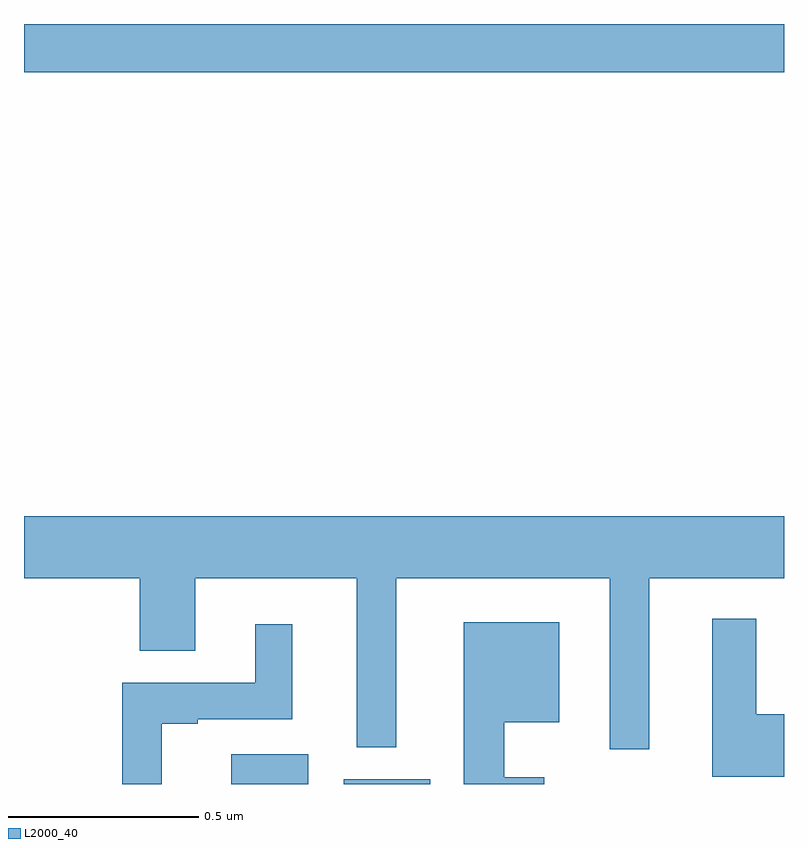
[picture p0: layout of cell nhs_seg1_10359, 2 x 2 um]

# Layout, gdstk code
import gdstk
lib = gdstk.Library(unit=1e-6, precision=1e-09)
def R(c, l, rs):  # rectangles x0, y0, x1, y1
    for r in rs: c.add(gdstk.rectangle(r[:2], r[2:], *l))
def P(c, l, *ps):  # polygons
    for p in ps: c.add(gdstk.Polygon(p, *l))
L2000_40 = (2000, 40)

nhs_seg1_10359 = lib.new_cell('nhs_seg1_10359')
R(nhs_seg1_10359, L2000_40, [(240.545,543.199,240.748,543.277), (240.842,543.199,241.069,543.211), (240,545.072,242,545.199)])
P(nhs_seg1_10359, L2000_40, [(241.645,543.74),(242,543.74),(242,543.904),(240,543.904),(240,543.74),(240.304,543.74),(240.304,543.55),(240.451,543.55),(240.451,543.74),(240.875,543.74),(240.875,543.296),(240.979,543.296),(240.979,543.74),(241.541,543.74),(241.541,543.291),(241.645,543.291)],
  [(242,543.382),(241.927,543.382),(241.927,543.634),(241.811,543.634),(241.811,543.218),(242,543.218)],
  [(241.369,543.217),(241.264,543.217),(241.264,543.362),(241.408,543.362),(241.408,543.625),(241.157,543.625),(241.157,543.199),(241.369,543.199)],
  [(240.362,543.357),(240.457,543.357),(240.457,543.369),(240.706,543.369),(240.706,543.619),(240.608,543.619),(240.608,543.465),(240.259,543.465),(240.259,543.199),(240.362,543.199)])

lib.write_gds('nhs_seg1_10359.gds')
